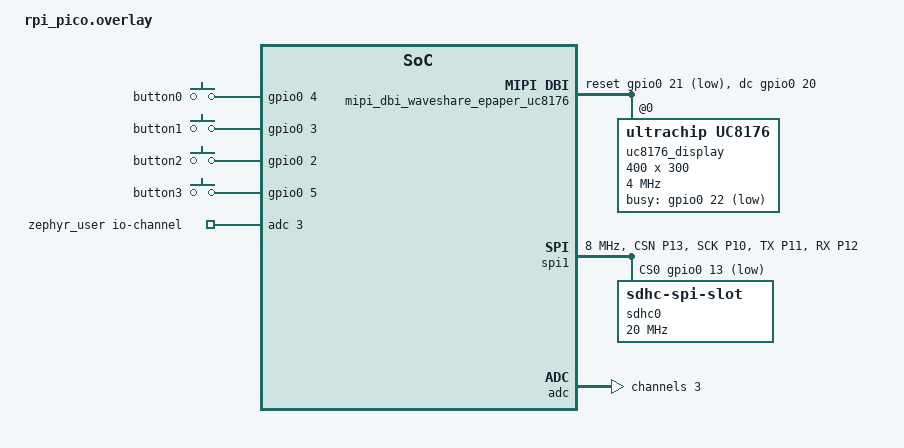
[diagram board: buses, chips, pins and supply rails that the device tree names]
/*
 * SPDX-FileCopyrightText: 2025 Anna-Lena Marx <mail@marx.engineer>
 *
 * SPDX-License-Identifier: MPL-2.0
 */

#include <zephyr/dt-bindings/input/input-event-codes.h>
#include <zephyr/dt-bindings/lvgl/lvgl.h>

/ {

  chosen {
    zephyr,display = &uc8176_display;
  };

  mipi_dbi_waveshare_epaper_uc8176 {
    compatible = "zephyr,mipi-dbi-spi";
    spi-dev = <&spi0>; //spi@0 -> GPIO 16-19
    dc-gpios = <&gpio0 20 GPIO_ACTIVE_HIGH>;
    reset-gpios = <&gpio0 21 GPIO_ACTIVE_LOW>;
    write-only;
    #address-cells = <1>;
    #size-cells = <0>;

    uc8176_display: uc8176@0 {
      compatible = "ultrachip,uc8176";
      mipi-max-frequency = <4000000>;
      reg = <0>;
      width = <400>;
      height = <300>;
      busy-gpios = <&gpio0 22 GPIO_ACTIVE_LOW>;
    };
  };

  keys: keys {
    compatible = "gpio-keys";
    button0: button0 {
      gpios = <&gpio0 4 GPIO_ACTIVE_HIGH>;
      zephyr,code = <INPUT_KEY_0>;
    };

    button1: button1 {
      gpios = <&gpio0 3 GPIO_ACTIVE_HIGH>;
      zephyr,code = <INPUT_KEY_1>;
    };

    button2: button2 {
      gpios = <&gpio0 2 GPIO_ACTIVE_HIGH>;
      zephyr,code = <INPUT_KEY_2>;
    };

    button3: button3 {
      gpios = <&gpio0 5 GPIO_ACTIVE_HIGH>;
      zephyr,code = <INPUT_KEY_3>;
    };
  };

  lvgl_button_input: lvgl_button_input {
    compatible = "zephyr,lvgl-button-input";
    input = <&keys>;
    input-codes = <INPUT_KEY_0 INPUT_KEY_1 INPUT_KEY_2 INPUT_KEY_3>;
    coordinates = <10 470>, <400 470>, <780 470>, <15 470>;
  };

  zephyr_user: zephyr,user {
    io-channels = <&adc 3>;  /* GPIO29 = ADC3 = VSYS/3 on Pico */
  };
};

// Pinmux defines:
// https://docs.zephyrproject.org/apidoc/latest/rpi-pico-pinctrl-common_8h_source.html
&pinctrl {
  spi1_default: spi1_default {
    group1 {
      pinmux = <SPI1_CSN_P13>, <SPI1_SCK_P10>, <SPI1_TX_P11>;
    };
    group2 {
      pinmux = <SPI1_RX_P12>;
      input-enable;
    };
  };
};

&spi1 {
  clock-frequency = <DT_FREQ_M(8)>;
  status = "okay";
  pinctrl-0 = <&spi1_default>;
  pinctrl-names = "default";

  cs-gpios = <&gpio0 13 GPIO_ACTIVE_LOW>;

  sdhc0: sdhc@0 {
    compatible = "zephyr,sdhc-spi-slot";
    reg = <0>;
    status = "okay";
    mmc {
      compatible = "zephyr,sdmmc-disk";
      disk-name = "SD";
      status = "okay";
    };
    spi-max-frequency = <20000000>;
  };
};

&i2c0 {
  status = "disabled";
};

&i2c1 {
  status = "disabled";
};

&adc {
    status = "okay";
    #address-cells = <1>;
    #size-cells = <0>;

    channel@3 {
        reg = <3>;
        zephyr,gain = "ADC_GAIN_1";
        zephyr,reference = "ADC_REF_INTERNAL";
        zephyr,acquisition-time = <ADC_ACQ_TIME_DEFAULT>;
        zephyr,resolution = <12>;
    };
};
